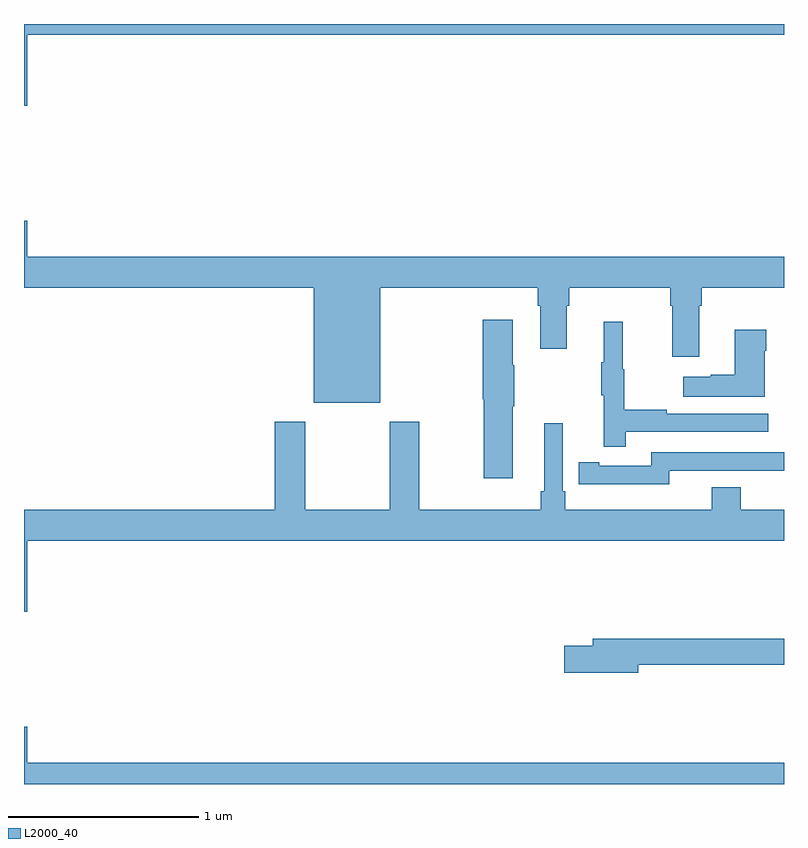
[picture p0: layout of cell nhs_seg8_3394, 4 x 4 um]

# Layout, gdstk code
import gdstk
lib = gdstk.Library(unit=1e-6, precision=1e-09)
def P(c, l, *ps):  # polygons
    for p in ps: c.add(gdstk.Polygon(p, *l))
L2000_40 = (2000, 40)

nhs_seg8_3394 = lib.new_cell('nhs_seg8_3394')
P(nhs_seg8_3394, L2000_40, [(321.016,1105.844),(325,1105.844),(325,1105.9),(321,1105.9),(321,1105.47),(321.016,1105.47)],
  [(322.876,1104.512),(323.705,1104.512),(323.705,1104.416),(323.717,1104.416),(323.717,1104.192),(323.857,1104.192),(323.857,1104.416),(323.87,1104.416),(323.87,1104.512),(324.401,1104.512),(324.401,1104.416),(324.413,1104.416),(324.413,1104.15),(324.553,1104.15),(324.553,1104.416),(324.566,1104.416),(324.566,1104.512),(325,1104.512),(325,1104.676),(321.016,1104.676),(321.016,1104.865),(321,1104.865),(321,1104.512),(322.526,1104.512),(322.526,1103.906),(322.876,1103.906)],
  [(323.572,1103.887),(323.58,1103.887),(323.58,1104.104),(323.572,1104.104),(323.572,1104.343),(323.414,1104.343),(323.414,1103.925),(323.419,1103.925),(323.419,1103.508),(323.572,1103.508)],
  [(324.167,1103.754),(324.916,1103.754),(324.916,1103.85),(324.383,1103.85),(324.383,1103.87),(324.16,1103.87),(324.16,1104.084),(324.152,1104.084),(324.152,1104.334),(324.05,1104.334),(324.05,1104.121),(324.039,1104.121),(324.039,1103.947),(324.05,1103.947),(324.05,1103.676),(324.167,1103.676)],
  [(324.898,1104.179),(324.906,1104.179),(324.906,1104.292),(324.74,1104.292),(324.74,1104.053),(324.614,1104.053),(324.614,1104.043),(324.471,1104.043),(324.471,1103.939),(324.898,1103.939)],
  [(321.016,1103.18),(325,1103.18),(325,1103.344),(324.773,1103.344),(324.773,1103.461),(324.62,1103.461),(324.62,1103.344),(323.849,1103.344),(323.849,1103.44),(323.835,1103.44),(323.835,1103.8),(323.738,1103.8),(323.738,1103.44),(323.719,1103.44),(323.719,1103.344),(323.079,1103.344),(323.079,1103.806),(322.924,1103.806),(322.924,1103.344),(322.479,1103.344),(322.479,1103.806),(322.319,1103.806),(322.319,1103.344),(321,1103.344),(321,1102.806),(321.016,1102.806)],
  [(324.396,1103.55),(324.856,1103.55),(324.856,1103.549),(325,1103.549),(325,1103.646),(324.3,1103.646),(324.3,1103.574),(324.028,1103.574),(324.028,1103.594),(323.92,1103.594),(323.92,1103.478),(324.028,1103.478),(324.028,1103.477),(324.396,1103.477)],
  [(324.232,1102.528),(325,1102.528),(325,1102.664),(323.993,1102.664),(323.993,1102.628),(323.844,1102.628),(323.844,1102.486),(324.232,1102.486)],
  [(321.016,1102.201),(321,1102.201),(321,1101.9),(325,1101.9),(325,1102.012),(321.016,1102.012)])

lib.write_gds('nhs_seg8_3394.gds')
